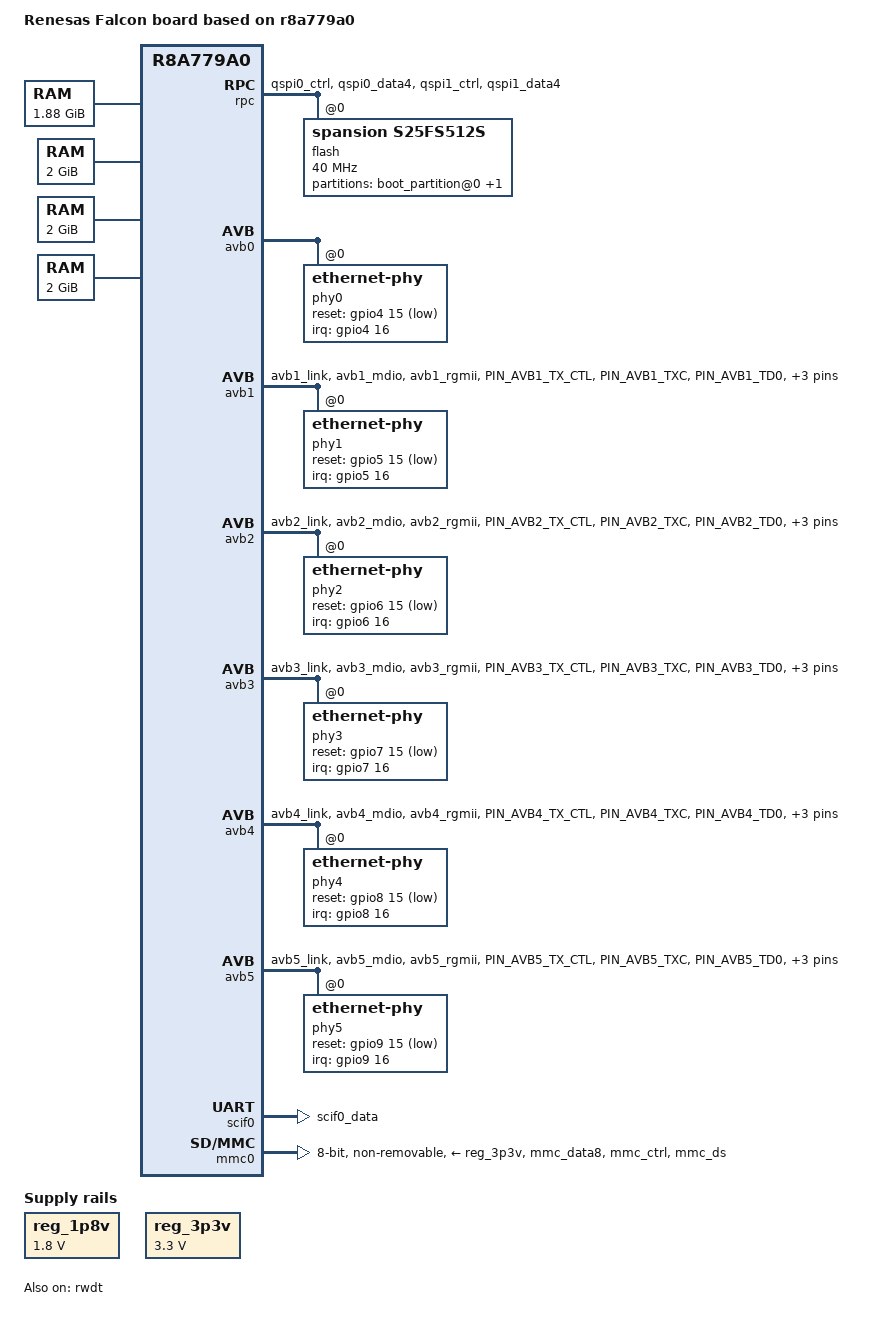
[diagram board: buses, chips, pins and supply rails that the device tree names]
// SPDX-License-Identifier: GPL-2.0
/*
 * Device Tree Source for the Falcon board
 *
 * Copyright (C) 2020 Renesas Electronics Corp.
 */

/dts-v1/;
#include "r8a779a0.dtsi"
#include <dt-bindings/gpio/gpio.h>

/ {
	model = "Renesas Falcon board based on r8a779a0";
	compatible = "renesas,falcon", "renesas,r8a779a0";

	aliases {
		serial0 = &scif0;
		ethernet0 = &avb0;
	};

	chosen {
		bootargs = "ignore_loglevel rw root=/dev/nfs ip=on";
		stdout-path = "serial0:115200n8";
	};

	memory@48000000 {
		device_type = "memory";
		/* first 128MB is reserved for secure area. */
		reg = <0x0 0x48000000 0x0 0x78000000>;
	};

	memory@500000000 {
		device_type = "memory";
		reg = <0x5 0x00000000 0x0 0x80000000>;
	};

	memory@600000000 {
		device_type = "memory";
		reg = <0x6 0x00000000 0x0 0x80000000>;
	};

	memory@700000000 {
		device_type = "memory";
		reg = <0x7 0x00000000 0x0 0x80000000>;
	};

	reg_1p8v: regulator0 {
		compatible = "regulator-fixed";
		regulator-name = "fixed-1.8V";
		regulator-min-microvolt = <1800000>;
		regulator-max-microvolt = <1800000>;
		regulator-boot-on;
		regulator-always-on;
	};

	reg_3p3v: regulator1 {
		compatible = "regulator-fixed";
		regulator-name = "fixed-3.3V";
		regulator-min-microvolt = <3300000>;
		regulator-max-microvolt = <3300000>;
		regulator-boot-on;
		regulator-always-on;
	};
};

&extal_clk {
	clock-frequency = <16666666>;
};

&extalr_clk {
	clock-frequency = <32768>;
};

&pfc {
	avb0_pins: avb0 {
		mux {
			groups = "avb0_link", "avb0_mdio", "avb0_rgmii", "avb0_txcrefclk";
			function = "avb0";
		};

		pins_mdio {
			groups = "avb0_mdio";
			drive-strength = <24>;
		};

		pins_mii_tx {
			pins = "PIN_AVB0_TX_CTL", "PIN_AVB0_TXC", "PIN_AVB0_TD0",
				"PIN_AVB0_TD1", "PIN_AVB0_TD2", "PIN_AVB0_TD3", "PIN_AVB0_TXCREFCLK";
			drive-strength = <12>;
		};
	};

	avb1_pins: avb1 {
		mux {
			groups = "avb1_link", "avb1_mdio", "avb1_rgmii";
			function = "avb1";
		};

		pins_mdio {
			groups = "avb1_mdio";
			drive-strength = <24>;
		};

		pins_mii_tx {
			pins = "PIN_AVB1_TX_CTL", "PIN_AVB1_TXC", "PIN_AVB1_TD0",
				"PIN_AVB1_TD1", "PIN_AVB1_TD2", "PIN_AVB1_TD3";
			drive-strength = <12>;
		};
	};

	avb2_pins: avb2 {
		mux {
			groups = "avb2_link", "avb2_mdio", "avb2_rgmii";
			function = "avb2";
		};

		pins_mdio {
			groups = "avb2_mdio";
			drive-strength = <24>;
		};

		pins_mii_tx {
			pins = "PIN_AVB2_TX_CTL", "PIN_AVB2_TXC", "PIN_AVB2_TD0",
				"PIN_AVB2_TD1", "PIN_AVB2_TD2", "PIN_AVB2_TD3";
			drive-strength = <12>;
		};
	};

	avb3_pins: avb3 {
		mux {
			groups = "avb3_link", "avb3_mdio", "avb3_rgmii";
			function = "avb3";
		};

		pins_mdio {
			groups = "avb3_mdio";
			drive-strength = <24>;
		};

		pins_mii_tx {
			pins = "PIN_AVB3_TX_CTL", "PIN_AVB3_TXC", "PIN_AVB3_TD0",
				"PIN_AVB3_TD1", "PIN_AVB3_TD2", "PIN_AVB3_TD3";
			drive-strength = <12>;
		};
	};

	avb4_pins: avb4 {
		mux {
			groups = "avb4_link", "avb4_mdio", "avb4_rgmii";
			function = "avb4";
		};

		pins_mdio {
			groups = "avb4_mdio";
			drive-strength = <24>;
		};

		pins_mii_tx {
			pins = "PIN_AVB4_TX_CTL", "PIN_AVB4_TXC", "PIN_AVB4_TD0",
				"PIN_AVB4_TD1", "PIN_AVB4_TD2", "PIN_AVB4_TD3";
			drive-strength = <12>;
		};
	};

	avb5_pins: avb5 {
		mux {
			groups = "avb5_link", "avb5_mdio", "avb5_rgmii";
			function = "avb5";
		};

		pins_mdio {
			groups = "avb5_mdio";
			drive-strength = <24>;
		};

		pins_mii_tx {
			pins = "PIN_AVB5_TX_CTL", "PIN_AVB5_TXC", "PIN_AVB5_TD0",
				"PIN_AVB5_TD1", "PIN_AVB5_TD2", "PIN_AVB5_TD3";
			drive-strength = <12>;
		};
	};

	qspi0_pins: qspi0 {
		groups = "qspi0_ctrl", "qspi0_data4";
		function = "qspi0";
	};

	qspi1_pins: qspi1 {
		groups = "qspi1_ctrl", "qspi1_data4";
		function = "qspi1";
	};

	scif0_pins: scif0 {
		groups = "scif0_data";
		function = "scif0";
	};

	scif_clk_pins: scif_clk {
		groups = "scif_clk";
		function = "scif_clk";
	};

	mmc_pins: mmc {
		groups = "mmc_data8", "mmc_ctrl", "mmc_ds";
		function = "mmc";
		power-source = <3300>;
	};

	mmc_pins_uhs: mmc_uhs {
		groups = "mmc_data8", "mmc_ctrl", "mmc_ds";
		function = "mmc";
		power-source = <1800>;
	};
};

&rpc {
	pinctrl-0 = <&qspi0_pins &qspi1_pins>;
	pinctrl-names = "default";

	status = "okay";

	flash@0 {
		compatible = "spansion,s25fs512s", "jedec,spi-nor", "spi-flash";
		reg = <0>;
		spi-max-frequency = <40000000>;
		spi-rx-bus-width = <4>;
		partitions {
			compatible = "fixed-partitions";
			#address-cells = <1>;
			#size-cells = <1>;

			boot_partition@0 {
				reg = <0x00000000 0xC40000>;
				read-only;
			};
			user@00C40000 {
				reg = <0x00C40000 0x33C0000>;
			};
		};
	};
};

&avb0 {
	/* pinctrl-0 = <&avb0_pins>; */
	pinctrl-names = "default";
	phy-handle = <&phy0>;
	phy-mode = "rgmii-txid";
	status = "okay";

	phy0: ethernet-phy@0 {
		rxc-skew-ps = <1500>;
		reg = <0>;
		interrupt-parent = <&gpio4>;
		interrupts = <16 IRQ_TYPE_LEVEL_LOW>;
		reset-gpios = <&gpio4 15 GPIO_ACTIVE_LOW>;
	};
};

&avb1 {
	pinctrl-0 = <&avb1_pins>;
	pinctrl-names = "default";
	phy-handle = <&phy1>;
	phy-mode = "rgmii-txid";

	phy1: ethernet-phy@1 {
		rxc-skew-ps = <1500>;
		reg = <0>;
		interrupt-parent = <&gpio5>;
		interrupts = <16 IRQ_TYPE_LEVEL_LOW>;
		reset-gpios = <&gpio5 15 GPIO_ACTIVE_LOW>;
	};
};

&avb2 {
	pinctrl-0 = <&avb2_pins>;
	pinctrl-names = "default";
	phy-handle = <&phy2>;
	phy-mode = "rgmii-txid";

	phy2: ethernet-phy@2 {
		rxc-skew-ps = <1500>;
		reg = <0>;
		interrupt-parent = <&gpio6>;
		interrupts = <16 IRQ_TYPE_LEVEL_LOW>;
		reset-gpios = <&gpio6 15 GPIO_ACTIVE_LOW>;
	};
};

&avb3 {
	pinctrl-0 = <&avb3_pins>;
	pinctrl-names = "default";
	phy-handle = <&phy3>;
	phy-mode = "rgmii-txid";

	phy3: ethernet-phy@3{
		rxc-skew-ps = <1500>;
		reg = <0>;
		interrupt-parent = <&gpio7>;
		interrupts = <16 IRQ_TYPE_LEVEL_LOW>;
		reset-gpios = <&gpio7 15 GPIO_ACTIVE_LOW>;
	};
};

&avb4 {
	pinctrl-0 = <&avb4_pins>;
	pinctrl-names = "default";
	phy-handle = <&phy4>;
	phy-mode = "rgmii-txid";

	phy4: ethernet-phy@4 {
		rxc-skew-ps = <1500>;
		reg = <0>;
		interrupt-parent = <&gpio8>;
		interrupts = <16 IRQ_TYPE_LEVEL_LOW>;
		reset-gpios = <&gpio8 15 GPIO_ACTIVE_LOW>;
	};
};

&avb5 {
	pinctrl-0 = <&avb5_pins>;
	pinctrl-names = "default";
	phy-handle = <&phy5>;
	phy-mode = "rgmii-txid";

	phy5: ethernet-phy@5 {
		rxc-skew-ps = <1500>;
		reg = <0>;
		interrupt-parent = <&gpio9>;
		interrupts = <16 IRQ_TYPE_LEVEL_LOW>;
		reset-gpios = <&gpio9 15 GPIO_ACTIVE_LOW>;
	};
};

&rwdt {
	timeout-sec = <60>;
	status = "okay";
};

&scif0 {
	pinctrl-0 = <&scif0_pins>;
	pinctrl-names = "default";

	status = "okay";
};

&scif_clk {
	pinctrl-0 = <&scif_clk_pins>;
	pinctrl-names = "default";

	clock-frequency = <24000000>;
	status = "okay";
};

&mmc0 {
	pinctrl-0 = <&mmc_pins>;
	pinctrl-1 = <&mmc_pins_uhs>;
	pinctrl-names = "default", "state_uhs";

	vmmc-supply = <&reg_3p3v>;
	vqmmc-supply = <&reg_1p8v>;
	mmc-hs200-1_8v;
	bus-width = <8>;
	no-sd;
	no-sdio;
	non-removable;
	fixed-emmc-driver-type = <1>;
	status = "okay";
};
